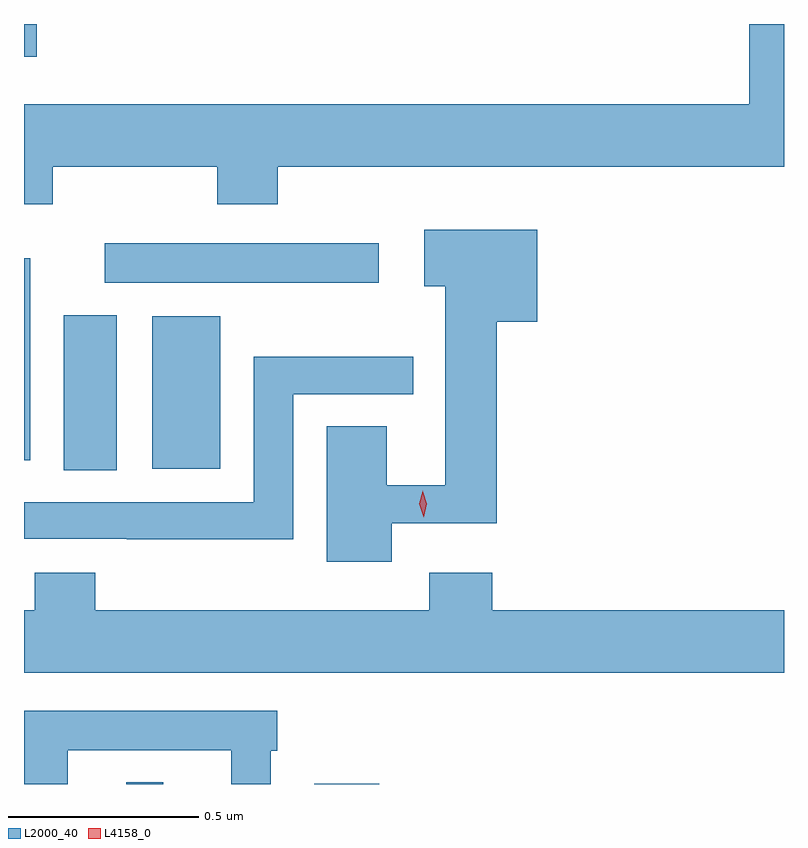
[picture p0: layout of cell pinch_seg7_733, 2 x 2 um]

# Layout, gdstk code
import gdstk
lib = gdstk.Library(unit=1e-6, precision=1e-09)
def R(c, l, rs):  # rectangles x0, y0, x1, y1
    for r in rs: c.add(gdstk.rectangle(r[:2], r[2:], *l))
def P(c, l, *ps):  # polygons
    for p in ps: c.add(gdstk.Polygon(p, *l))
L2000_40 = (2000, 40)
L4158_0 = (4158, 0)

pinch_seg7_733 = lib.new_cell('pinch_seg7_733')
R(pinch_seg7_733, L2000_40, [(276.515,1006.983,276.613,1006.987), (277.01,1006.983,277.181,1006.984), (276.35,1007.809,276.49,1008.217), (276.584,1007.813,276.763,1008.214), (276.246,1007.835,276.262,1008.367), (276.459,1008.302,277.18,1008.406), (276.246,1008.897,276.28,1008.983)])
P(pinch_seg7_733, L2000_40, [(276.246,1008.509),(276.321,1008.509),(276.321,1008.608),(276.754,1008.608),(276.754,1008.509),(276.914,1008.509),(276.914,1008.608),(278.246,1008.608),(278.246,1008.983),(278.154,1008.983),(278.154,1008.772),(276.246,1008.772)],
  [(277.214,1007.669),(277.49,1007.669),(277.49,1008.2),(277.597,1008.2),(277.597,1008.442),(277.299,1008.442),(277.299,1008.293),(277.355,1008.293),(277.355,1007.769),(277.201,1007.769),(277.201,1007.924),(277.043,1007.924),(277.043,1007.568),(277.214,1007.568)],
  [(276.955,1008.009),(277.27,1008.009),(277.27,1008.107),(276.851,1008.107),(276.851,1007.724),(276.246,1007.724),(276.246,1007.628),(276.517,1007.628),(276.517,1007.627),(276.955,1007.627)],
  [(278.246,1007.44),(277.478,1007.44),(277.478,1007.539),(277.313,1007.539),(277.313,1007.44),(276.434,1007.44),(276.434,1007.539),(276.274,1007.539),(276.274,1007.44),(276.246,1007.44),(276.246,1007.276),(278.246,1007.276)],
  [(276.361,1007.072),(276.791,1007.072),(276.791,1006.983),(276.895,1006.983),(276.895,1007.071),(276.913,1007.071),(276.913,1007.176),(276.246,1007.176),(276.246,1006.983),(276.361,1006.983)])
P(pinch_seg7_733, L4158_0, [(277.298,1007.685),(277.298,1007.685),(277.286,1007.72),(277.295,1007.754),(277.295,1007.755),(277.295,1007.754),(277.306,1007.72),(277.298,1007.685)])

lib.write_gds('pinch_seg7_733.gds')
